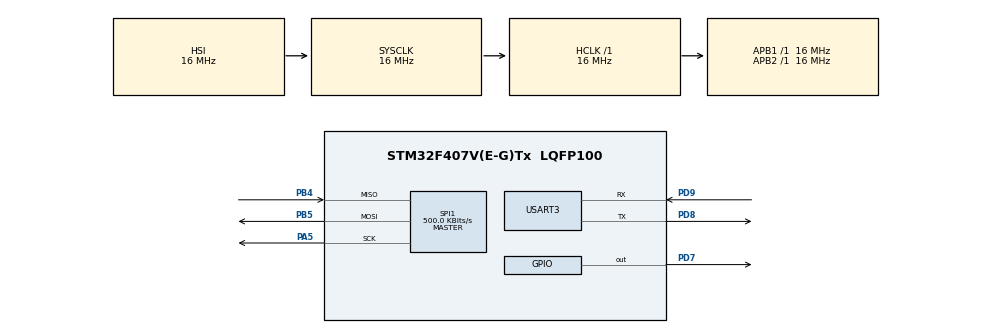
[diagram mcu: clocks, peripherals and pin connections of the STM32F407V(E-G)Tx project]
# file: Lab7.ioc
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Mcu.Family=STM32F4
Mcu.Name=STM32F407V(E-G)Tx
Mcu.Package=LQFP100
NVIC.PriorityGroup=NVIC_PRIORITYGROUP_4
PA5.Mode=Full_Duplex_Master
PA5.Signal=SPI1_SCK
PB4.Mode=Full_Duplex_Master
PB4.Signal=SPI1_MISO
PB5.Mode=Full_Duplex_Master
PB5.Signal=SPI1_MOSI
PD7.Signal=GPIO_Output
PD8.Mode=Asynchronous
PD8.Signal=USART3_TX
PD9.Mode=Asynchronous
PD9.Signal=USART3_RX
ProjectManager.HeapSize=0x200
ProjectManager.StackSize=0x400
ProjectManager.TargetToolchain=STM32CubeIDE
RCC.AHBFreq_Value=16000000
RCC.APB1Freq_Value=16000000
RCC.APB2Freq_Value=16000000
RCC.CortexFreq_Value=16000000
RCC.HSE_VALUE=25000000
RCC.HSI_VALUE=16000000
RCC.LSE_VALUE=32768
RCC.SYSCLKFreq_VALUE=16000000
RCC.VCOOutputFreq_Value=192000000
SPI1.BaudRatePrescaler=SPI_BAUDRATEPRESCALER_32
SPI1.CalculateBaudRate=500.0 KBits/s
SPI1.Direction=SPI_DIRECTION_2LINES
SPI1.Mode=SPI_MODE_MASTER
SPI1.VirtualType=VM_MASTER
USART3.VirtualMode=VM_ASYNC
board=custom

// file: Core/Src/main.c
/* USER CODE BEGIN Header */
/**
  ******************************************************************************
  * @file           : main.c
  * @brief          : Main program body
  ******************************************************************************
  * @attention
  *
  * <h2><center>&copy; Copyright (c) 2021 STMicroelectronics.
  * All rights reserved.</center></h2>
  *
  * This software component is licensed by ST under BSD 3-Clause license,
  * the "License"; You may not use this file except in compliance with the
  * License. You may obtain a copy of the License at:
  *                        opensource.org/licenses/BSD-3-Clause
  *
  ******************************************************************************
  */
/* USER CODE END Header */
#include "main.h"

/* USER CODE BEGIN Includes */
#include <string.h>   //needed library for strlen
#include <stdbool.h>
#include <string.h>
#define maxLines 20
#define lineMaxSize 100
#define waitTime 100

/* USER CODE END Includes */

SPI_HandleTypeDef hspi1;
UART_HandleTypeDef huart3;
/* USER CODE BEGIN PV */

uint8_t counter_for_menu=1;
uint8_t TransmitArray[100]={0};
char ReceiveArray[100]={0};
uint32_t address=0;
uint32_t memory = 0;
char timeCapsule[maxLines][lineMaxSize] = { };

const uint8_t readMemoryCode = 0x03;
const uint8_t getIdCode = 0x90;
const uint8_t writeEnableCode = 0x06;
const uint8_t writeDisableCode = 0x04;
const uint8_t eraseAllCode = 0x60;
const uint8_t enableWriteStatusCode = 0x50;
const uint8_t writeStatusCode = 0x01;
const uint8_t enableSOCode = 0x70;
const uint8_t disableSOCode = 0x80;
const uint8_t autoAddressIncrementCode = 0xAD;

/* USER CODE END PV */

void SystemClock_Config(void);
static void MX_GPIO_Init(void);
static void MX_SPI1_Init(void);
static void MX_USART3_UART_Init(void);

/* USER CODE BEGIN 0 */

void CS_change(){
	if(HAL_GPIO_ReadPin(GPIOD, GPIO_PIN_7)==GPIO_PIN_SET){
		HAL_GPIO_WritePin(GPIOD,GPIO_PIN_7,GPIO_PIN_RESET);
	}
	else{
		HAL_GPIO_WritePin(GPIOD,GPIO_PIN_7,GPIO_PIN_SET);
	}
}

void flash_read(){

	for(uint8_t i=0;i<20;i++){
		HAL_GPIO_WritePin(GPIOD,GPIO_PIN_7,GPIO_PIN_SET);  //CS = HIGH (CS is high means bus isn`t working)

		HAL_Delay(10);

		TransmitArray[0]=readMemoryCode;                 //Prepare READ-ID command
		TransmitArray[1]=address>>16;         //You should make these wierd adress shifts
		TransmitArray[2]=address>>8;
		TransmitArray[3]=address;

		if(address==77824){   //0+4096*19=77824 - address of line 20
			address=0;
		}
		else{
			  address+=4096;
		}

		CS_change(); //When CS is low transmit starts
		HAL_SPI_TransmitReceive(&hspi1,TransmitArray,(uint8_t *)ReceiveArray,100,1000);    //Exchange data

		CS_change();  //CS = HIGH
		HAL_Delay(10);
	    HAL_UART_Transmit(&huart3, (uint8_t *)"\r\n", strlen("\r\n"),10);               //send newline

	    for(uint8_t j=0;j<100;j++){       //filter off all the 0xFF
	    	if(ReceiveArray[j]==255){
	    		ReceiveArray[j]='\0';
	    	}
	    }
	    HAL_UART_Transmit(&huart3,(uint8_t *) ReceiveArray,sizeof ReceiveArray/sizeof ReceiveArray[0],0XFFFF);
	}
}

void pin_control(bool state){
	if (state == true)
	{
		if (HAL_GPIO_ReadPin(GPIOD, GPIO_PIN_7) == GPIO_PIN_SET)
			HAL_GPIO_WritePin(GPIOD, GPIO_PIN_7, GPIO_PIN_RESET);
	}
	else
	{
		if (HAL_GPIO_ReadPin(GPIOD, GPIO_PIN_7) == GPIO_PIN_RESET)
			HAL_GPIO_WritePin(GPIOD, GPIO_PIN_7, GPIO_PIN_SET);
	}
}

void setWriteStatus(){
	uint8_t status[] = {writeStatusCode, 0};

	pin_control(true);
	HAL_SPI_Transmit(&hspi1, (uint8_t *)&enableWriteStatusCode, 1, waitTime);
	pin_control(false);

	pin_control(true);
	HAL_SPI_Transmit(&hspi1, status, 2, waitTime);
	pin_control(false);
}

void setHEOW(bool state){
	pin_control(true);
	HAL_SPI_Transmit(&hspi1, state == true ? (uint8_t *)&enableSOCode : (uint8_t *)&disableSOCode, 1, waitTime);
	pin_control(false);
}

void waitForEndOfWriting(){
	pin_control(true);

	while (HAL_GPIO_ReadPin(GPIOB, GPIO_PIN_4) == GPIO_PIN_RESET);

	pin_control(false);
}

void setWriteMode(bool state){
	pin_control(true);
	HAL_SPI_Transmit(&hspi1, state == true ? (uint8_t *)&writeEnableCode : (uint8_t *)&writeDisableCode, 1, waitTime);
	pin_control(false);
}

void flash_clear(){
	    setWriteMode(true);
		pin_control(true);
		HAL_SPI_Transmit(&hspi1, (uint8_t *)&eraseAllCode, 1, waitTime);
		pin_control(false);
	    setWriteMode(false);
	    HAL_Delay(100);
}

void flash_write(uint32_t memory, uint8_t *line, uint8_t lineLength){
	setWriteStatus();
	setWriteMode(true);
	setHEOW(true);

	uint8_t startWritingPoint[] = {autoAddressIncrementCode, memory >> 16, memory >> 8, memory, line[0], line[1]};
	pin_control(true);
	HAL_SPI_Transmit(&hspi1, startWritingPoint, sizeof(startWritingPoint), waitTime);
	pin_control(false);
	waitForEndOfWriting();

	uint8_t twoBytesToPass[] = {autoAddressIncrementCode, line[0], line[1]};
	for (int i = 2; i < lineLength; i += 2){
		twoBytesToPass[1] = line[i];
		if (i + 1 < lineLength)
			twoBytesToPass[2] = line[i + 1];
		else
			twoBytesToPass[2] = 255;
		pin_control(true);
		HAL_SPI_Transmit(&hspi1, twoBytesToPass, sizeof(twoBytesToPass), waitTime);
		pin_control(false);

		waitForEndOfWriting();
	}

	setWriteMode(false);
	setHEOW(false);
}

void flash_write_text(){

	strcat(timeCapsule[0], "From: Hrona Yurii, yura.grona.011i@gmail.com\r\n");
	strcat(timeCapsule[1], "Mentor: Vitalii Kostiuk, vitalii.kostiuk@globallogic.com\r\n");
	strcat(timeCapsule[2], "Date: 30.11.2021\r\n");
	strcat(timeCapsule[3], "TIME CAPSULE\r\n");
	strcat(timeCapsule[4], "Les Goémons (Khrystyna Soloviy)\r\n");
	strcat(timeCapsule[5], "Dessous la vague bougent\r\n");
	strcat(timeCapsule[6], "Les goémons\r\n");
	strcat(timeCapsule[7], "Mes amours leur ressemblent\r\n");
	strcat(timeCapsule[8], "Il n'en reste il me semble\r\n");
	strcat(timeCapsule[9], "Que goémons\r\n");
	strcat(timeCapsule[10], "Que des fleurs arrachées\r\n");
	strcat(timeCapsule[11], "Se mourant comme les\r\n");
	strcat(timeCapsule[12], "Noirs goémons\r\n");

	memory = 0;
	for (int i = 0; i < maxLines; i++){
		  flash_write(memory, (uint8_t *)timeCapsule[i], strlen(timeCapsule[i]));
		  memory += 4096;
	}
}

/* USER CODE END 0 */

int main(void)
{

  /* MCU Configuration--------------------------------------------------------*/

  /* Reset of all peripherals, Initializes the Flash interface and the Systick. */
  HAL_Init();

  /* Configure the system clock */
  SystemClock_Config();

  /* Initialize all configured peripherals */
  MX_GPIO_Init();
  MX_SPI1_Init();
  MX_USART3_UART_Init();

  /* Infinite loop */
  /* USER CODE BEGIN WHILE */

  while (1)
  {

   	  uint8_t rcvBuf;
  	  HAL_StatusTypeDef result;
  	  result = HAL_UART_Receive(&huart3, &rcvBuf, 1, 1000);

  	  if(counter_for_menu){
  	  HAL_UART_Transmit(&huart3, (uint8_t *)"\033[2J", strlen("\033[2J"),10);      //Putty screen clear
  	  HAL_UART_Transmit(&huart3, (uint8_t *)"\r\nMenu:\r\npress 1 to read flash\r\npress 2 to write in flash\r\npress 3 to erase flash\r\n",strlen("\r\nMenu:\r\npress 1 to read flash\r\npress 2 to write in flash\r\npress 3 to erase flash\r\n"),1000);
  	  counter_for_menu--;
  	  }

	  	  if (result == HAL_OK){

  		  switch(rcvBuf){

  			  case '1':
  				  flash_read();
  				  HAL_UART_Transmit(&huart3, (uint8_t *)"Flash is read\r\n", strlen("Flash is read\r\n"),10);
  			  break;

  			  case '2':
  				 flash_write_text();
				 HAL_UART_Transmit(&huart3, (uint8_t *)"Write info in Flash compeleted\r\n", strlen("Write info in Flash compeleted\r\n"),10);
			  break;

  			  case '3':
  				 flash_clear();
				 HAL_UART_Transmit(&huart3, (uint8_t *)"Flash erased\r\n", strlen("Flash erased\r\n"),10);
  			  break;

  			  default:
  				  HAL_UART_Transmit(&huart3, (uint8_t *)"Unexpected_command\r\n", strlen("Unexpected_command\r\n"),10);
  				  break;
  		  }
  	  }

    /* USER CODE END WHILE */

  }
}

void SystemClock_Config(void)
{
  RCC_OscInitTypeDef RCC_OscInitStruct = {0};
  RCC_ClkInitTypeDef RCC_ClkInitStruct = {0};

  /** Configure the main internal regulator output voltage
  */
  __HAL_RCC_PWR_CLK_ENABLE();
  __HAL_PWR_VOLTAGESCALING_CONFIG(PWR_REGULATOR_VOLTAGE_SCALE1);
  /** Initializes the RCC Oscillators according to the specified parameters
  * in the RCC_OscInitTypeDef structure.
  */
  RCC_OscInitStruct.OscillatorType = RCC_OSCILLATORTYPE_HSI;
  RCC_OscInitStruct.HSIState = RCC_HSI_ON;
  RCC_OscInitStruct.HSICalibrationValue = RCC_HSICALIBRATION_DEFAULT;
  RCC_OscInitStruct.PLL.PLLState = RCC_PLL_NONE;
  if (HAL_RCC_OscConfig(&RCC_OscInitStruct) != HAL_OK)
  {
    Error_Handler();
  }
  /** Initializes the CPU, AHB and APB buses clocks
  */
  RCC_ClkInitStruct.ClockType = RCC_CLOCKTYPE_HCLK|RCC_CLOCKTYPE_SYSCLK
                              |RCC_CLOCKTYPE_PCLK1|RCC_CLOCKTYPE_PCLK2;
  RCC_ClkInitStruct.SYSCLKSource = RCC_SYSCLKSOURCE_HSI;
  RCC_ClkInitStruct.AHBCLKDivider = RCC_SYSCLK_DIV1;
  RCC_ClkInitStruct.APB1CLKDivider = RCC_HCLK_DIV1;
  RCC_ClkInitStruct.APB2CLKDivider = RCC_HCLK_DIV1;

  if (HAL_RCC_ClockConfig(&RCC_ClkInitStruct, FLASH_LATENCY_0) != HAL_OK)
  {
    Error_Handler();
  }
}

static void MX_SPI1_Init(void)
{

  /* SPI1 parameter configuration*/
  hspi1.Instance = SPI1;
  hspi1.Init.Mode = SPI_MODE_MASTER;
  hspi1.Init.Direction = SPI_DIRECTION_2LINES;
  hspi1.Init.DataSize = SPI_DATASIZE_8BIT;
  hspi1.Init.CLKPolarity = SPI_POLARITY_LOW;
  hspi1.Init.CLKPhase = SPI_PHASE_1EDGE;
  hspi1.Init.NSS = SPI_NSS_SOFT;
  hspi1.Init.BaudRatePrescaler = SPI_BAUDRATEPRESCALER_32;
  hspi1.Init.FirstBit = SPI_FIRSTBIT_MSB;
  hspi1.Init.TIMode = SPI_TIMODE_DISABLE;
  hspi1.Init.CRCCalculation = SPI_CRCCALCULATION_DISABLE;
  hspi1.Init.CRCPolynomial = 10;
  if (HAL_SPI_Init(&hspi1) != HAL_OK)
  {
    Error_Handler();
  }

}

static void MX_USART3_UART_Init(void)
{

  huart3.Instance = USART3;
  huart3.Init.BaudRate = 115200;
  huart3.Init.WordLength = UART_WORDLENGTH_8B;
  huart3.Init.StopBits = UART_STOPBITS_1;
  huart3.Init.Parity = UART_PARITY_NONE;
  huart3.Init.Mode = UART_MODE_TX_RX;
  huart3.Init.HwFlowCtl = UART_HWCONTROL_NONE;
  huart3.Init.OverSampling = UART_OVERSAMPLING_16;
  if (HAL_UART_Init(&huart3) != HAL_OK)
  {
    Error_Handler();
  }

}

static void MX_GPIO_Init(void)
{
  GPIO_InitTypeDef GPIO_InitStruct = {0};

  /* GPIO Ports Clock Enable */
  __HAL_RCC_GPIOA_CLK_ENABLE();
  __HAL_RCC_GPIOD_CLK_ENABLE();
  __HAL_RCC_GPIOB_CLK_ENABLE();

  /*Configure GPIO pin Output Level */
  HAL_GPIO_WritePin(GPIOD, GPIO_PIN_7, GPIO_PIN_RESET);

  /*Configure GPIO pin : PD7 */
  GPIO_InitStruct.Pin = GPIO_PIN_7;
  GPIO_InitStruct.Mode = GPIO_MODE_OUTPUT_PP;
  GPIO_InitStruct.Pull = GPIO_NOPULL;
  GPIO_InitStruct.Speed = GPIO_SPEED_FREQ_LOW;
  HAL_GPIO_Init(GPIOD, &GPIO_InitStruct);

}

void Error_Handler(void)
{
  __disable_irq();
  while (1)
  {
  }
}

/************************ (C) COPYRIGHT STMicroelectronics *****END OF FILE****/
